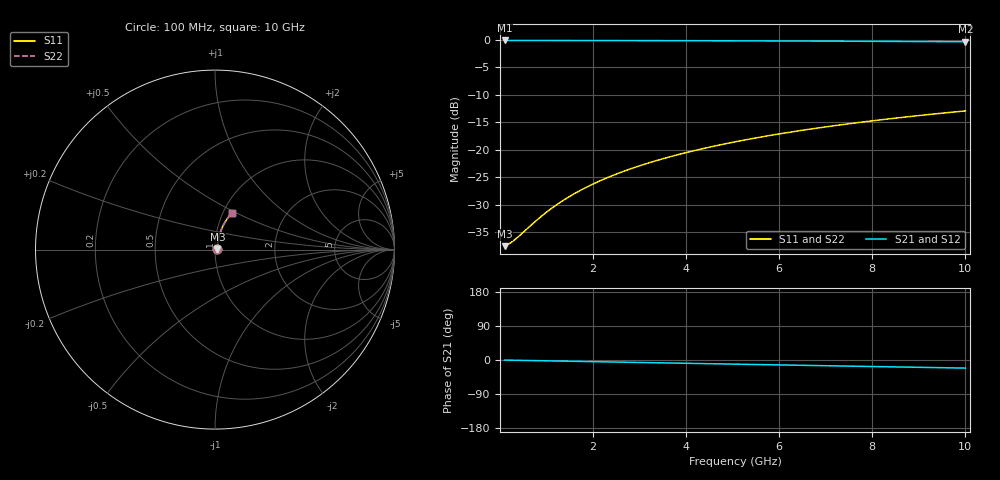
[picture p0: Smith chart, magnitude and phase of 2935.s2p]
# Hz S RI R 50.00
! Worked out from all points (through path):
!   100 points, 100 MHz to 10 GHz, reference 50 ohm
!   highest |S21| = -0.11 dB at 100 MHz (marker M1); lowest = -0.4 dB at 10 GHz (marker M2)
!   group delay of S21, straight-line fit = 5.94 ps
!   lowest |S11| = -37.5 dB at 100 MHz (marker M3), VSWR 1.03, Z = 51.3 + j0.236 ohm
!   |S11| at or under -10 dB: start of sweep to end of sweep
!   |S22| runs from -37.5 to -12.9 dB; largest |S21 - S12| = 0
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1e8  0.0131 0.0023  0.9869 -0.00374  0.9869 -0.00374  0.0131 0.0023
2e8  0.0132 0.00459  0.9868 -0.00749  0.9868 -0.00749  0.0132 0.00459
3e8  0.0133 0.00689  0.9867 -0.0112  0.9867 -0.0112  0.0133 0.00689
4e8  0.0134 0.00918  0.9866 -0.015  0.9866 -0.015  0.0134 0.00918
8e8  0.014 0.0183  0.986 -0.0299  0.986 -0.0299  0.014 0.0183
1.1e9  0.0145 0.0252  0.9853 -0.0411  0.9853 -0.0411  0.0145 0.0252
1.4e9  0.0152 0.032  0.9845 -0.0523  0.9845 -0.0523  0.0152 0.032
1.6e9  0.0158 0.0366  0.9839 -0.0598  0.9839 -0.0598  0.0158 0.0366
1.8e9  0.0164 0.0411  0.9832 -0.0672  0.9832 -0.0672  0.0164 0.0411
2.1e9  0.0175 0.0479  0.982 -0.0783  0.982 -0.0783  0.0175 0.0479
2.5e9  0.0191 0.0569  0.9802 -0.0931  0.9802 -0.0931  0.0191 0.0569
2.9e9  0.0211 0.0658  0.978 -0.1079  0.978 -0.1079  0.0211 0.0658
3.4e9  0.0238 0.0769  0.9749 -0.1262  0.9749 -0.1262  0.0238 0.0769
3.8e9  0.0263 0.0857  0.9721 -0.1407  0.9721 -0.1407  0.0263 0.0857
4.2e9  0.0291 0.0943  0.969 -0.1552  0.969 -0.1552  0.0291 0.0943
4.6e9  0.0321 0.1029  0.9656 -0.1696  0.9656 -0.1696  0.0321 0.1029
5.1e9  0.0362 0.1134  0.961 -0.1874  0.961 -0.1874  0.0362 0.1134
5.9e9  0.0436 0.1299  0.9526 -0.2155  0.9526 -0.2155  0.0436 0.1299
6.7e9  0.0519 0.1458  0.9433 -0.243  0.9433 -0.243  0.0519 0.1458
7.5e9  0.0611 0.1611  0.9328 -0.27  0.9328 -0.27  0.0611 0.1611
8.4e9  0.0724 0.1776  0.92 -0.2996  0.92 -0.2996  0.0724 0.1776
1e10  0.0949 0.2046  0.8943 -0.35  0.8943 -0.35  0.0949 0.2046
